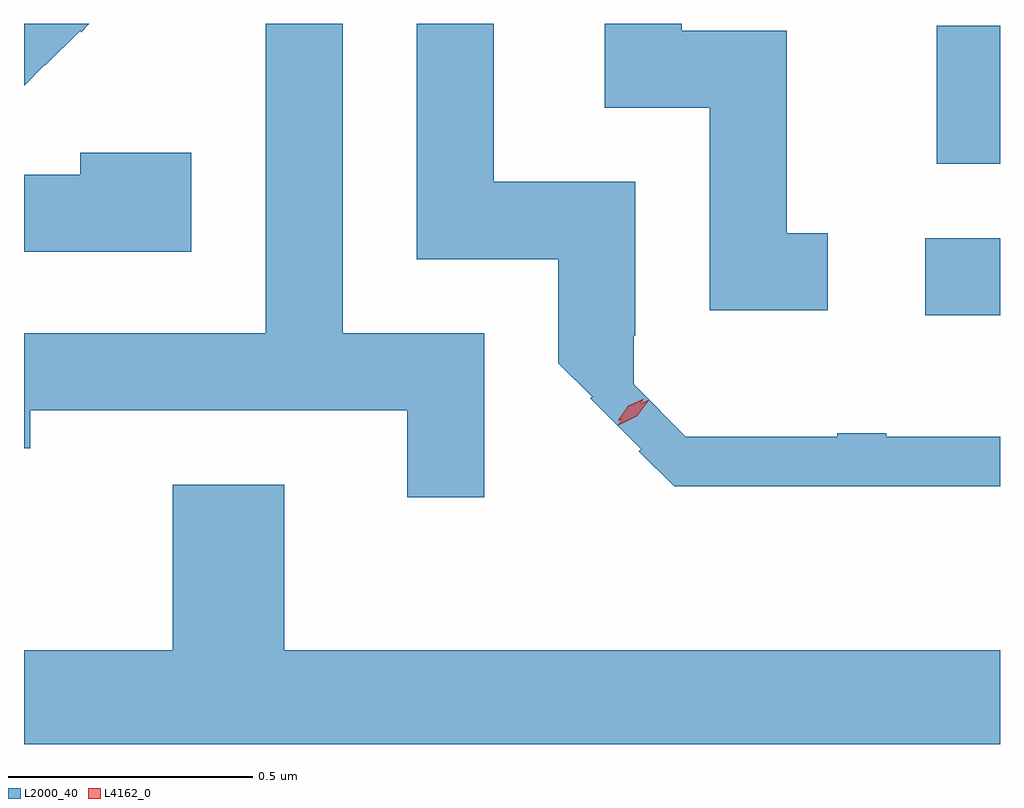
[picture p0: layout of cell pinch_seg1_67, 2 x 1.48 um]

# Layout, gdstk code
import gdstk
lib = gdstk.Library(unit=1e-6, precision=1e-09)
def R(c, l, rs):  # rectangles x0, y0, x1, y1
    for r in rs: c.add(gdstk.rectangle(r[:2], r[2:], *l))
def P(c, l, *ps):  # polygons
    for p in ps: c.add(gdstk.Polygon(p, *l))
L2000_40 = (2000, 40)
L4162_0 = (4162, 0)

pinch_seg1_67 = lib.new_cell('pinch_seg1_67')
R(pinch_seg1_67, L2000_40, [(1441.423,840.591,1441.576,840.749), (1441.446,840.901,1441.576,841.184)])
P(pinch_seg1_67, L2000_40, [(1441.223,840.759),(1441.139,840.759),(1441.139,841.174),(1440.924,841.174),(1440.924,841.188),(1440.766,841.188),(1440.766,841.016),(1440.981,841.016),(1440.981,840.601),(1441.223,840.601)],
  [(1439.618,841.103),(1439.619,841.102),(1439.691,841.174),(1439.693,841.171),(1439.71,841.188),(1439.576,841.188),(1439.576,841.061)],
  [(1440.519,840.554),(1440.229,840.554),(1440.229,841.188),(1440.071,841.188),(1440.071,840.554),(1439.576,840.554),(1439.576,840.318),(1439.589,840.318),(1439.589,840.396),(1440.361,840.396),(1440.361,840.218),(1440.519,840.218)],
  [(1441.576,840.342),(1441.343,840.342),(1441.343,840.349),(1441.243,840.349),(1441.243,840.342),(1440.932,840.342),(1440.825,840.449),(1440.825,840.549),(1440.829,840.549),(1440.829,840.864),(1440.539,840.864),(1440.539,841.188),(1440.381,841.188),(1440.381,840.706),(1440.671,840.706),(1440.671,840.493),(1440.74,840.424),(1440.736,840.421),(1440.841,840.316),(1440.836,840.312),(1440.908,840.24),(1441.576,840.24)],
  [(1439.919,840.924),(1439.691,840.924),(1439.691,840.879),(1439.576,840.879),(1439.576,840.721),(1439.919,840.721)],
  [(1441.576,839.904),(1440.109,839.904),(1440.109,840.244),(1439.881,840.244),(1439.881,839.904),(1439.576,839.904),(1439.576,839.712),(1441.576,839.712)])
P(pinch_seg1_67, L4162_0, [(1440.794,840.375),(1440.794,840.376),(1440.814,840.405),(1440.846,840.42),(1440.846,840.42),(1440.846,840.42),(1440.827,840.39),(1440.795,840.375)],
  [(1440.794,840.365),(1440.794,840.366),(1440.819,840.399),(1440.856,840.418),(1440.857,840.418),(1440.857,840.418),(1440.832,840.384),(1440.795,840.365)])

lib.write_gds('pinch_seg1_67.gds')
